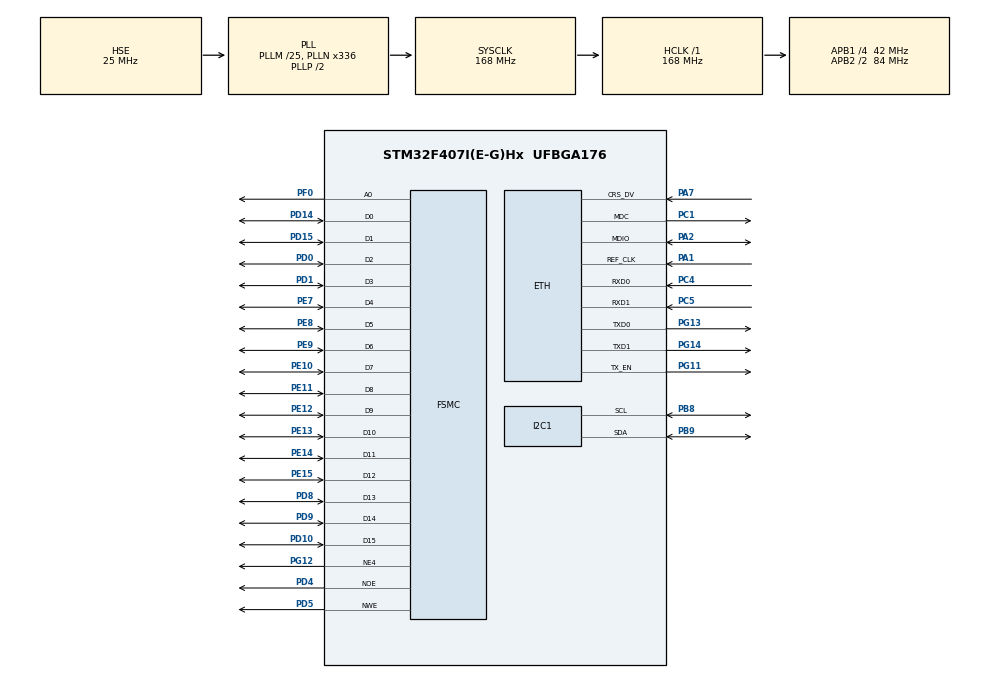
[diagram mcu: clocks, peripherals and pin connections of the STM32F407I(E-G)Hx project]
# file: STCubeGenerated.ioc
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ETH.MediaInterface=HAL_ETH_RMII_MODE
Mcu.Family=STM32F4
Mcu.Name=STM32F407I(E-G)Hx
Mcu.Package=UFBGA176
NVIC.ETH_IRQn=true\:0\:0\:false\:false\:false\:true\:true\:true
NVIC.I2C1_ER_IRQn=true\:0\:0\:false\:false\:false\:true\:true\:true
NVIC.I2C1_EV_IRQn=true\:0\:0\:false\:false\:false\:true\:true\:true
NVIC.PriorityGroup=NVIC_PRIORITYGROUP_4
PA1.Mode=RMII
PA1.Signal=ETH_REF_CLK
PA2.Mode=RMII
PA2.Signal=ETH_MDIO
PA7.Mode=RMII
PA7.Signal=ETH_CRS_DV
PB8.GPIO_Pu=GPIO_PULLUP
PB8.Mode=I2C
PB8.Signal=I2C1_SCL
PB9.GPIO_Pu=GPIO_PULLUP
PB9.Mode=I2C
PB9.Signal=I2C1_SDA
PC1.Mode=RMII
PC1.Signal=ETH_MDC
PC4.Mode=RMII
PC4.Signal=ETH_RXD0
PC5.Mode=RMII
PC5.Signal=ETH_RXD1
PD0.Signal=FSMC_D2_DA2
PD1.Signal=FSMC_D3_DA3
PD10.Signal=FSMC_D15_DA15
PD14.Signal=FSMC_D0_DA0
PD15.Signal=FSMC_D1_DA1
PD4.Signal=FSMC_NOE
PD5.Signal=FSMC_NWE
PD8.Signal=FSMC_D13_DA13
PD9.Signal=FSMC_D14_DA14
PE10.Signal=FSMC_D7_DA7
PE11.Signal=FSMC_D8_DA8
PE12.Signal=FSMC_D9_DA9
PE13.Signal=FSMC_D10_DA10
PE14.Signal=FSMC_D11_DA11
PE15.Signal=FSMC_D12_DA12
PE7.Signal=FSMC_D4_DA4
PE8.Signal=FSMC_D5_DA5
PE9.Signal=FSMC_D6_DA6
PF0.Signal=FSMC_A0
PG11.Mode=RMII
PG11.Signal=ETH_TX_EN
PG12.Mode=NorPsramChipSelect4_1
PG12.Signal=FSMC_NE4
PG13.Mode=RMII
PG13.Signal=ETH_TXD0
PG14.Mode=RMII
PG14.Signal=ETH_TXD1
PH0-OSC_IN.Mode=HSE-External-Oscillator
PH0-OSC_IN.Signal=RCC_OSC_IN
PH1-OSC_OUT.Mode=HSE-External-Oscillator
PH1-OSC_OUT.Signal=RCC_OSC_OUT
ProjectManager.HeapSize=0x200
ProjectManager.StackSize=0x400
ProjectManager.TargetToolchain=MDK-ARM V5.32
RCC.48MHZClocksFreq_Value=42000000
RCC.AHBFreq_Value=168000000
RCC.APB1CLKDivider=RCC_HCLK_DIV4
RCC.APB1Freq_Value=42000000
RCC.APB1TimFreq_Value=84000000
RCC.APB2CLKDivider=RCC_HCLK_DIV2
RCC.APB2Freq_Value=84000000
RCC.APB2TimFreq_Value=168000000
RCC.CortexFreq_Value=168000000
RCC.HCLKFreq_Value=168000000
RCC.HSE_VALUE=25000000
RCC.HSI_VALUE=16000000
RCC.LSE_VALUE=32768
RCC.PLLM=25
RCC.PLLN=336
RCC.PLLQ=8
RCC.PLLSourceVirtual=RCC_PLLSOURCE_HSE
RCC.SYSCLKFreq_VALUE=168000000
RCC.SYSCLKSource=RCC_SYSCLKSOURCE_PLLCLK
RCC.VCOOutputFreq_Value=336000000
SH.FSMC_A0.0=FSMC_A0,1b-a1
SH.FSMC_D0_DA0.0=FSMC_D0,16b-d1
SH.FSMC_D10_DA10.0=FSMC_D10,16b-d1
SH.FSMC_D11_DA11.0=FSMC_D11,16b-d1
SH.FSMC_D12_DA12.0=FSMC_D12,16b-d1
SH.FSMC_D13_DA13.0=FSMC_D13,16b-d1
SH.FSMC_D14_DA14.0=FSMC_D14,16b-d1
SH.FSMC_D15_DA15.0=FSMC_D15,16b-d1
SH.FSMC_D1_DA1.0=FSMC_D1,16b-d1
SH.FSMC_D2_DA2.0=FSMC_D2,16b-d1
SH.FSMC_D3_DA3.0=FSMC_D3,16b-d1
SH.FSMC_D4_DA4.0=FSMC_D4,16b-d1
SH.FSMC_D5_DA5.0=FSMC_D5,16b-d1
SH.FSMC_D6_DA6.0=FSMC_D6,16b-d1
SH.FSMC_D7_DA7.0=FSMC_D7,16b-d1
SH.FSMC_D8_DA8.0=FSMC_D8,16b-d1
SH.FSMC_D9_DA9.0=FSMC_D9,16b-d1
SH.FSMC_NOE.0=FSMC_NOE,Sram1
SH.FSMC_NWE.0=FSMC_NWE,Sram1
board=STCubeGenerated

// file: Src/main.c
/* USER CODE BEGIN Header */
/**
  ******************************************************************************
  * @file           : main.c
  * @brief          : Main program body
  ******************************************************************************
  * @attention
  *
  * <h2><center>&copy; Copyright (c) 2019 STMicroelectronics.
  * All rights reserved.</center></h2>
  *
  * This software component is licensed by ST under BSD 3-Clause license,
  * the "License"; You may not use this file except in compliance with the
  * License. You may obtain a copy of the License at:
  *                        opensource.org/licenses/BSD-3-Clause
  *
  ******************************************************************************
  */
/* USER CODE END Header */
#include "main.h"
#include "string.h"

ETH_TxPacketConfig TxConfig;
ETH_DMADescTypeDef  DMARxDscrTab[ETH_RX_DESC_CNT]; /* Ethernet Rx DMA Descriptors */
ETH_DMADescTypeDef  DMATxDscrTab[ETH_TX_DESC_CNT]; /* Ethernet Tx DMA Descriptors */

ETH_HandleTypeDef heth;

I2C_HandleTypeDef hi2c1;

SRAM_HandleTypeDef hsram1;

/* USER CODE BEGIN PV */
/* Private variables ---------------------------------------------------------*/

/* USER CODE END PV */

void SystemClock_Config(void);
static void MX_GPIO_Init(void);
static void MX_ETH_Init(void);
static void MX_I2C1_Init(void);
static void MX_FSMC_Init(void);
/* USER CODE BEGIN PFP */
/* Private function prototypes -----------------------------------------------*/

/* USER CODE END PFP */

/* USER CODE BEGIN 0 */
/**
  * Override default HAL_GetTick function
  */
uint32_t HAL_GetTick (void) {
  static uint32_t ticks = 0U;
         uint32_t i;

  if (osKernelGetState () == osKernelRunning) {
    return ((uint32_t)osKernelGetTickCount ());
  }

  /* If Kernel is not running wait approximately 1 ms then increment
     and return auxiliary tick counter value */
  for (i = (SystemCoreClock >> 14U); i > 0U; i--) {
    __NOP(); __NOP(); __NOP(); __NOP(); __NOP(); __NOP();
    __NOP(); __NOP(); __NOP(); __NOP(); __NOP(); __NOP();
  }
  return ++ticks;
}

/**
  * Override default HAL_InitTick function
  */
HAL_StatusTypeDef HAL_InitTick(uint32_t TickPriority) {

  UNUSED(TickPriority);

  return HAL_OK;
}
/* USER CODE END 0 */

int main(void)
{

  /* MCU Configuration--------------------------------------------------------*/

  /* Reset of all peripherals, Initializes the Flash interface and the Systick. */
  HAL_Init();

  /* Configure the system clock */
  SystemClock_Config();

  /* USER CODE BEGIN SysInit */
  SystemCoreClockUpdate();
  /* USER CODE END SysInit */

  /* Initialize all configured peripherals */
  MX_GPIO_Init();
  MX_ETH_Init();
  MX_I2C1_Init();
  MX_FSMC_Init();
  /* USER CODE BEGIN 2 */

  /* Initialize CMSIS-RTOS2 */
  osKernelInitialize ();

  /* Create application main thread */
  osThreadNew(app_main, NULL, &app_main_attr);

  /* Start thread execution */
  osKernelStart();

  /* USER CODE END 2 */

  /* Infinite loop */
  while (1)
  {

  }
}

void SystemClock_Config(void)
{
  RCC_OscInitTypeDef RCC_OscInitStruct = {0};
  RCC_ClkInitTypeDef RCC_ClkInitStruct = {0};

  /** Configure the main internal regulator output voltage
  */
  __HAL_RCC_PWR_CLK_ENABLE();
  __HAL_PWR_VOLTAGESCALING_CONFIG(PWR_REGULATOR_VOLTAGE_SCALE1);

  /** Initializes the RCC Oscillators according to the specified parameters
  * in the RCC_OscInitTypeDef structure.
  */
  RCC_OscInitStruct.OscillatorType = RCC_OSCILLATORTYPE_HSE;
  RCC_OscInitStruct.HSEState = RCC_HSE_ON;
  RCC_OscInitStruct.PLL.PLLState = RCC_PLL_ON;
  RCC_OscInitStruct.PLL.PLLSource = RCC_PLLSOURCE_HSE;
  RCC_OscInitStruct.PLL.PLLM = 25;
  RCC_OscInitStruct.PLL.PLLN = 336;
  RCC_OscInitStruct.PLL.PLLP = RCC_PLLP_DIV2;
  RCC_OscInitStruct.PLL.PLLQ = 8;
  if (HAL_RCC_OscConfig(&RCC_OscInitStruct) != HAL_OK)
  {
    Error_Handler();
  }

  /** Initializes the CPU, AHB and APB buses clocks
  */
  RCC_ClkInitStruct.ClockType = RCC_CLOCKTYPE_HCLK|RCC_CLOCKTYPE_SYSCLK
                              |RCC_CLOCKTYPE_PCLK1|RCC_CLOCKTYPE_PCLK2;
  RCC_ClkInitStruct.SYSCLKSource = RCC_SYSCLKSOURCE_PLLCLK;
  RCC_ClkInitStruct.AHBCLKDivider = RCC_SYSCLK_DIV1;
  RCC_ClkInitStruct.APB1CLKDivider = RCC_HCLK_DIV4;
  RCC_ClkInitStruct.APB2CLKDivider = RCC_HCLK_DIV2;

  if (HAL_RCC_ClockConfig(&RCC_ClkInitStruct, FLASH_LATENCY_5) != HAL_OK)
  {
    Error_Handler();
  }
}

static void MX_ETH_Init(void)
{

   static uint8_t MACAddr[6];

  heth.Instance = ETH;
  MACAddr[0] = 0x00;
  MACAddr[1] = 0x80;
  MACAddr[2] = 0xE1;
  MACAddr[3] = 0x00;
  MACAddr[4] = 0x00;
  MACAddr[5] = 0x00;
  heth.Init.MACAddr = &MACAddr[0];
  heth.Init.MediaInterface = HAL_ETH_RMII_MODE;
  heth.Init.TxDesc = DMATxDscrTab;
  heth.Init.RxDesc = DMARxDscrTab;
  heth.Init.RxBuffLen = 1524;

  if (HAL_ETH_Init(&heth) != HAL_OK)
  {
    Error_Handler();
  }

  memset(&TxConfig, 0 , sizeof(ETH_TxPacketConfig));
  TxConfig.Attributes = ETH_TX_PACKETS_FEATURES_CSUM | ETH_TX_PACKETS_FEATURES_CRCPAD;
  TxConfig.ChecksumCtrl = ETH_CHECKSUM_IPHDR_PAYLOAD_INSERT_PHDR_CALC;
  TxConfig.CRCPadCtrl = ETH_CRC_PAD_INSERT;

}

static void MX_I2C1_Init(void)
{

  hi2c1.Instance = I2C1;
  hi2c1.Init.ClockSpeed = 100000;
  hi2c1.Init.DutyCycle = I2C_DUTYCYCLE_2;
  hi2c1.Init.OwnAddress1 = 0;
  hi2c1.Init.AddressingMode = I2C_ADDRESSINGMODE_7BIT;
  hi2c1.Init.DualAddressMode = I2C_DUALADDRESS_DISABLE;
  hi2c1.Init.OwnAddress2 = 0;
  hi2c1.Init.GeneralCallMode = I2C_GENERALCALL_DISABLE;
  hi2c1.Init.NoStretchMode = I2C_NOSTRETCH_DISABLE;
  if (HAL_I2C_Init(&hi2c1) != HAL_OK)
  {
    Error_Handler();
  }

}

static void MX_GPIO_Init(void)
{

  /* GPIO Ports Clock Enable */
  __HAL_RCC_GPIOB_CLK_ENABLE();
  __HAL_RCC_GPIOG_CLK_ENABLE();
  __HAL_RCC_GPIOD_CLK_ENABLE();
  __HAL_RCC_GPIOF_CLK_ENABLE();
  __HAL_RCC_GPIOH_CLK_ENABLE();
  __HAL_RCC_GPIOC_CLK_ENABLE();
  __HAL_RCC_GPIOA_CLK_ENABLE();
  __HAL_RCC_GPIOE_CLK_ENABLE();

}

/* FSMC initialization function */
static void MX_FSMC_Init(void)
{

  FSMC_NORSRAM_TimingTypeDef Timing = {0};

  /** Perform the SRAM1 memory initialization sequence
  */
  hsram1.Instance = FSMC_NORSRAM_DEVICE;
  hsram1.Extended = FSMC_NORSRAM_EXTENDED_DEVICE;
  /* hsram1.Init */
  hsram1.Init.NSBank = FSMC_NORSRAM_BANK4;
  hsram1.Init.DataAddressMux = FSMC_DATA_ADDRESS_MUX_DISABLE;
  hsram1.Init.MemoryType = FSMC_MEMORY_TYPE_SRAM;
  hsram1.Init.MemoryDataWidth = FSMC_NORSRAM_MEM_BUS_WIDTH_16;
  hsram1.Init.BurstAccessMode = FSMC_BURST_ACCESS_MODE_DISABLE;
  hsram1.Init.WaitSignalPolarity = FSMC_WAIT_SIGNAL_POLARITY_LOW;
  hsram1.Init.WrapMode = FSMC_WRAP_MODE_DISABLE;
  hsram1.Init.WaitSignalActive = FSMC_WAIT_TIMING_BEFORE_WS;
  hsram1.Init.WriteOperation = FSMC_WRITE_OPERATION_DISABLE;
  hsram1.Init.WaitSignal = FSMC_WAIT_SIGNAL_DISABLE;
  hsram1.Init.ExtendedMode = FSMC_EXTENDED_MODE_DISABLE;
  hsram1.Init.AsynchronousWait = FSMC_ASYNCHRONOUS_WAIT_DISABLE;
  hsram1.Init.WriteBurst = FSMC_WRITE_BURST_DISABLE;
  hsram1.Init.PageSize = FSMC_PAGE_SIZE_NONE;
  /* Timing */
  Timing.AddressSetupTime = 15;
  Timing.AddressHoldTime = 15;
  Timing.DataSetupTime = 255;
  Timing.BusTurnAroundDuration = 15;
  Timing.CLKDivision = 16;
  Timing.DataLatency = 17;
  Timing.AccessMode = FSMC_ACCESS_MODE_A;
  /* ExtTiming */

  if (HAL_SRAM_Init(&hsram1, &Timing, NULL) != HAL_OK)
  {
    Error_Handler( );
  }

}

void Error_Handler(void)
{
  while(1)
  {
  }
}
